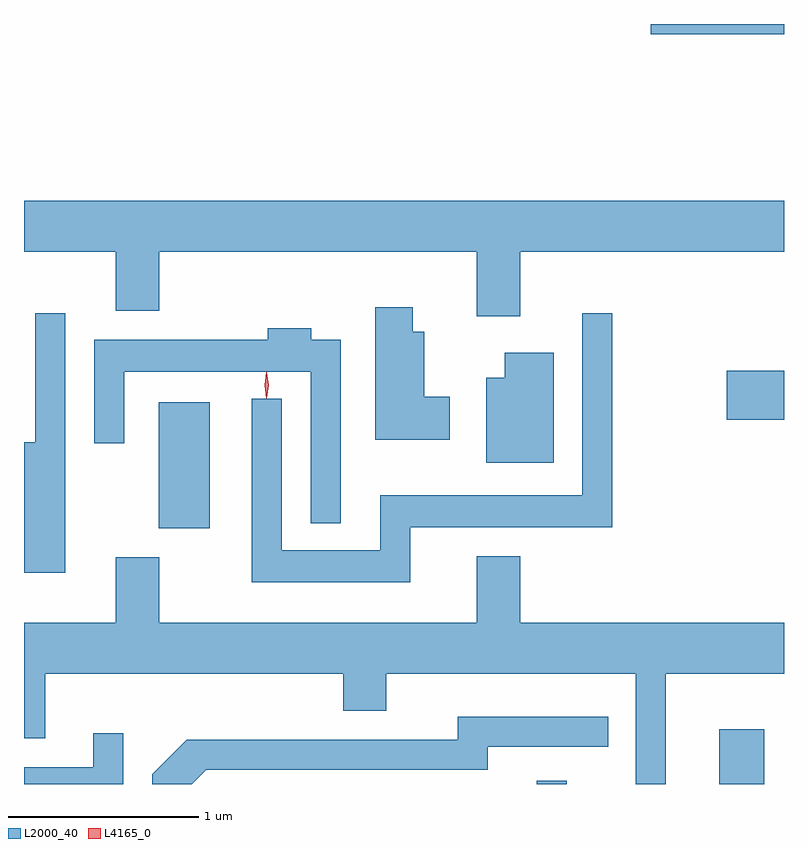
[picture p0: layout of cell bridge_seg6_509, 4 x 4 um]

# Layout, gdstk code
import gdstk
lib = gdstk.Library(unit=1e-6, precision=1e-09)
def R(c, l, rs):  # rectangles x0, y0, x1, y1
    for r in rs: c.add(gdstk.rectangle(r[:2], r[2:], *l))
def P(c, l, *ps):  # polygons
    for p in ps: c.add(gdstk.Polygon(p, *l))
L2000_40 = (2000, 40)
L4165_0 = (4165, 0)

bridge_seg6_509 = lib.new_cell('bridge_seg6_509')
R(bridge_seg6_509, L2000_40, [(542.856,1638.255,543.014,1638.273), (543.816,1638.255,544.054,1638.544), (540.866,1639.601,541.134,1640.264), (543.856,1640.171,544.157,1640.429), (543.456,1642.201,544.157,1642.255)])
P(bridge_seg6_509, L2000_40, [(542.769,1641.056),(544.157,1641.056),(544.157,1641.324),(540.157,1641.324),(540.157,1641.056),(540.641,1641.056),(540.641,1640.746),(540.869,1640.746),(540.869,1641.056),(542.541,1641.056),(542.541,1640.716),(542.769,1640.716)],
  [(542.399,1640.294),(542.264,1640.294),(542.264,1640.634),(542.204,1640.634),(542.204,1640.764),(542.006,1640.764),(542.006,1640.066),(542.399,1640.066)],
  [(540.374,1640.733),(540.216,1640.733),(540.216,1640.054),(540.157,1640.054),(540.157,1639.366),(540.374,1639.366)],
  [(542.189,1639.606),(543.254,1639.606),(543.254,1640.733),(543.096,1640.733),(543.096,1639.774),(542.031,1639.774),(542.031,1639.484),(541.514,1639.484),(541.514,1640.283),(541.356,1640.283),(541.356,1639.316),(542.189,1639.316)],
  [(541.824,1640.594),(541.669,1640.594),(541.669,1640.654),(541.441,1640.654),(541.441,1640.594),(540.526,1640.594),(540.526,1640.048),(540.684,1640.048),(540.684,1640.426),(541.666,1640.426),(541.666,1639.628),(541.824,1639.628)],
  [(542.944,1640.524),(542.686,1640.524),(542.686,1640.394),(542.591,1640.394),(542.591,1639.946),(542.944,1639.946)],
  [(543.534,1638.836),(544.157,1638.836),(544.157,1639.104),(542.769,1639.104),(542.769,1639.454),(542.541,1639.454),(542.541,1639.104),(540.869,1639.104),(540.869,1639.449),(540.641,1639.449),(540.641,1639.104),(540.157,1639.104),(540.157,1638.496),(540.269,1638.496),(540.269,1638.836),(541.836,1638.836),(541.836,1638.641),(542.064,1638.641),(542.064,1638.836),(543.376,1638.836),(543.376,1638.255),(543.534,1638.255)],
  [(541.117,1638.331),(542.599,1638.331),(542.599,1638.451),(543.233,1638.451),(543.233,1638.609),(542.441,1638.609),(542.441,1638.489),(541.014,1638.489),(540.831,1638.307),(540.831,1638.255),(541.04,1638.255)],
  [(540.679,1638.523),(540.521,1638.523),(540.521,1638.344),(540.157,1638.344),(540.157,1638.255),(540.679,1638.255)])
P(bridge_seg6_509, L4165_0, [(541.434,1640.287),(541.434,1640.288),(541.424,1640.354),(541.434,1640.42),(541.434,1640.42),(541.435,1640.42),(541.444,1640.354),(541.435,1640.288)],
  [(541.433,1640.284),(541.424,1640.353),(541.433,1640.422),(541.434,1640.423),(541.434,1640.422),(541.444,1640.353),(541.434,1640.284),(541.434,1640.284)])

lib.write_gds('bridge_seg6_509.gds')
